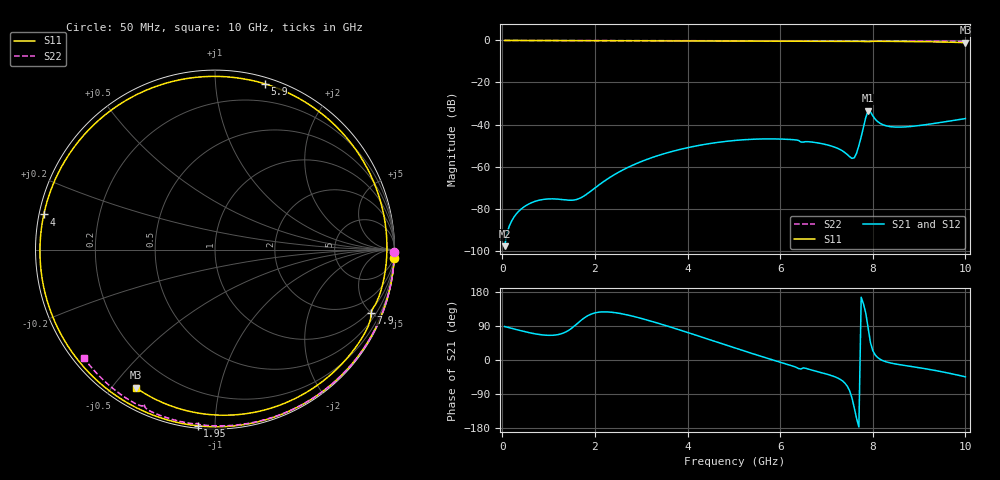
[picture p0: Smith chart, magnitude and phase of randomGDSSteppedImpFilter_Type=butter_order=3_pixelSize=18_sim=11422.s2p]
! freq	dB(S11)	phase(S11)	dB(S12)	phase(S12)
!  dB(S21)	phase(S21)	dB(S22)	phase(S22)
!S-par simulation data
#  GHz  S  DB  R 50
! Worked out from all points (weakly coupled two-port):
!   200 points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, 50 MHz to 10 GHz, reference 50 ohm
!   highest |S21| = -33.42 dB at 7.9 GHz (marker M1); lowest = -97.9 dB at 50 MHz (marker M2)
!   lowest |S11| = -1.0 dB at 10 GHz (marker M3), VSWR 16.72, Z = 3.99 - j28.9 ohm
!   |S11| at or under -10 dB: nowhere
!   |S22| runs from -0.5 to 0.0 dB; largest |S21 - S12| = 0
!   S11 on the Smith chart (normalised r, x): 50 MHz: 0, -45; 1.95 GHz: 0.01, -0.91; 4 GHz: 0.01, +0.10; 5.9 GHz: 0.05, +1.34; 7.9 GHz: 0.86, -4.99; 10 GHz: 0.08, -0.58
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0.05  -0.00 -2.5  -97.90 88.4  -97.90 88.4  -0.00 -0.8
0.4  -0.03 -20.1  -80.37 77.4  -80.37 77.4  -0.01 -6.5
1  -0.06 -49.9  -75.40 65.1  -75.40 65.1  -0.02 -16.1
1.5  -0.09 -74.2  -76.04 84.0  -76.04 84.0  -0.03 -24.1
1.75  -0.11 -86.2  -74.22 109.3  -74.22 109.3  -0.04 -28.0
1.95  -0.12 -95.6  -71.06 122.4  -71.06 122.4  -0.04 -31.2
2.6  -0.15 -126.0  -61.67 121.5  -61.67 121.5  -0.05 -41.2
3.4  -0.20 -163.2  -54.52 95.7  -54.52 95.7  -0.07 -53.3
4  -0.23 168.4  -51.04 72.7  -51.04 72.7  -0.09 -62.1
4.5  -0.26 144.1  -49.00 52.8  -49.00 52.8  -0.10 -69.3
5.05  -0.29 116.7  -47.54 30.7  -47.54 30.7  -0.12 -77.0
5.5  -0.30 93.8  -46.94 13.1  -46.94 13.1  -0.13 -83.2
5.9  -0.31 73.4  -46.86 -2.1  -46.86 -2.1  -0.15 -88.6
6.7  -0.34 33.2  -48.39 -27.2  -48.39 -27.2  -0.19 -99.1
7.2  -0.36 9.1  -50.96 -45.2  -50.96 -45.2  -0.22 -105.6
7.6  -0.40 -9.5  -55.86 -126.1  -55.86 -126.1  -0.26 -110.9
7.7  -0.43 -14.1  -50.03 -176.7  -50.03 -176.7  -0.28 -112.2
7.9  -0.56 -22.0  -33.42 83.5  -33.42 83.5  -0.47 -114.3
8.1  -0.40 -31.1  -38.51 7.0  -38.51 7.0  -0.31 -116.4
8.35  -0.43 -42.2  -40.91 -6.9  -40.91 -6.9  -0.31 -119.7
9.25  -0.64 -81.7  -39.74 -25.5  -39.74 -25.5  -0.39 -131.0
10  -1.04 -119.8  -37.18 -44.4  -37.18 -44.4  -0.47 -140.2
